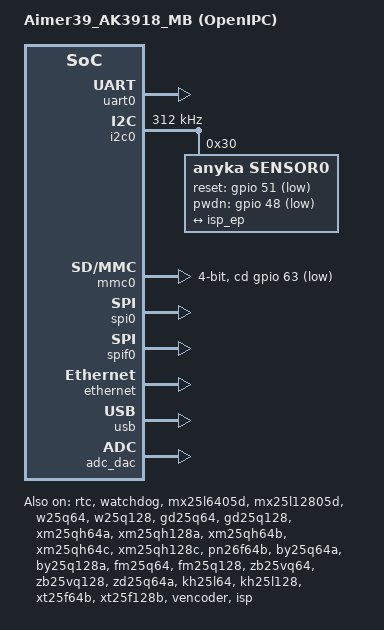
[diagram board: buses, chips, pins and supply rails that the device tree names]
/*
 * AK3918/AK3916 (Aimer39), the first AK39 generation, as OpenIPC boots it:
 * the peripherals of Anyka's Aimer39_AK3918_MB reference board
 * (arch/arm/mach-ak39/mach-aimer39_ak3918.c in the Aimer39 SDK) on the
 * AK39 common device tree. Pad functions are the Aimer39 SDK's own
 * (mach-ak39/ak39-gpio.c share_cfg_module[]). Board wiring that drives an
 * output -- motors, LEDs, the PHY reset line, Wi-Fi power, the speaker
 * amplifier -- is left out, since it differs from camera to camera; the
 * sensor's power-down and reset lines and the SD card detect input are the
 * reference board's.
 *
 * The AK3916 is the same die in a smaller package, with the same pads,
 * and boots this board too (the SDK's mach-aimer39_ak3916.c differs only
 * in board GPIOs).
 *
 * The bootargs are the defaults for OpenIPC's NOR layout, used whenever
 * U-Boot passes no command line of its own.
 */

/dts-v1/;
#include "anycloud_ak3918.dtsi"
#include "anycloud_ak39ev330_norflash.dtsi"

/ {
	compatible = "anyka,ak3918";
	model = "Aimer39_AK3918_MB (OpenIPC)";

	chosen {
		bootargs = "console=ttySAK0,115200n8 root=/dev/mtdblock3 rootfstype=squashfs init=/init mem=64M memsize=64M mtdparts=spi0.0:256k(boot),64k(env),2048k(kernel),5120k(rootfs),-(rootfs_data)";
	};
};

&gpio {
	/* ePIN_AS_UART1 (the console UART0): pads 1 and 2. */
	uart0_pins: uart0_pins {
		anyka,pins = <1 2>;
		anyka,function = <1>;
		anyka,pull = <0x00000010>;
	};

	/* ePIN_AS_I2C: pads 27 and 28. */
	i2c0_pins: i2c0_pins {
		anyka,pins = <27 28>;
		anyka,function = <1>;
		anyka,pull = <0x00000010>;
	};

	/* ePIN_AS_SPI1: clock and chip select on 25/26, data on 43-46. */
	spiflash_pins: spiflash_pins {
		anyka,pins = <25 26 43 44 45 46>;
		anyka,function = <1 1 2 2 2 2>;
		anyka,pull = <0x00000010>;
	};

	/* ePIN_AS_MCI, 4-bit: pads 31-36. */
	mci0_pins: mci0_pins {
		anyka,pins = <31 32 33 34 35 36>;
		anyka,function = <1>;
		anyka,pull = <0x00000010>;
	};

	/* ePIN_AS_MAC (MII): pads 12-24 and 47, pulls off as the SDK's MAC probe left them. */
	ethernet_pins: ethernet_pins {
		anyka,pins = <12 13 14 15 16 17 18 19 20 21 22 23 24 47>;
		anyka,function = <1>;
		anyka,pull = <0x00000000>;
	};

	/* ePIN_AS_CAMERA: the DVP bus's shared pads 8-11, function 0 here. */
	dvp_pins: dvp_pins {
		anyka,pins = <8 9 10 11>;
		anyka,function = <0>;
		anyka,pull = <0x00000010>;
	};
};

&rtc {
	status = "okay";
};

&watchdog {
	def_heartbeat = <10>;
	status = "okay";
};

&uart0 {
	pinctrl-names = "default";
	pinctrl-0 = <&uart0_pins>;
	status = "okay";
};

&i2c0 {
	pinctrl-names = "default";
	pinctrl-0 = <&i2c0_pins>;

	clock-frequency = <312000>;
	sda-delay = <100>;
	status = "okay";
	#address-cells = <1>;
	#size-cells = <0>;

	/*
	 * The SDK registers its aksensor client at a fake address and lets
	 * each sensor driver probe its own; the reference board powers the
	 * sensor from GPIO 48 and resets it on GPIO 51.
	 */
	sensor0: camera@30 {
		compatible = "anyka,sensor0";
		reg = <0x30>;
		reset-gpio = <&gpio 51 1>;
		pwdn-gpio = <&gpio 48 1>;
		status = "okay";

		port {
			sensor_ep: endpoint {
				remote-endpoint = <&isp_ep>;
			};
		};
	};
};

&mmc0 {
	pinctrl-names = "default";
	pinctrl-0 = <&mci0_pins>;
	bus-width = <4>;
	max-frequency = <25000000>;
	/* Card detect is GPIO 63 on the reference board, active low. */
	cd-gpios = <&gpio 63 1>;
	status = "okay";
};

&spi0 {
	pinctrl-names = "default";
	pinctrl-0 = <&spiflash_pins>;
	status = "okay";
};

&spif0 {
	spi-max-frequency = <20000000>;
	spi-tx-bus-width = <1>;
	spi-rx-bus-width = <1>;
	status = "okay";
};

&mx25l6405d {
	status = "okay";
};

&mx25l12805d {
	status = "okay";
};

&w25q64 {
	status = "okay";
};

&w25q128 {
	status = "okay";
};

&gd25q64 {
	status = "okay";
};

&gd25q128 {
	status = "okay";
};

&xm25qh64a {
	status = "okay";
};

&xm25qh128a {
	status = "okay";
};

&xm25qh64b {
	status = "okay";
};

&xm25qh64c {
	status = "okay";
};

&xm25qh128c {
	status = "okay";
};

&pn26f64b {
	status = "okay";
};

&by25q64a {
	status = "okay";
};

&by25q128a {
	status = "okay";
};

&fm25q64 {
	status = "okay";
};

&fm25q128 {
	status = "okay";
};

&zb25vq64 {
	status = "okay";
};

&zb25vq128 {
	status = "okay";
};

&zd25q64a {
	status = "okay";
};

&kh25l64 {
	status = "okay";
};

&kh25l128 {
	status = "okay";
};

&xt25f64b {
	status = "okay";
};

&xt25f128b {
	status = "okay";
};

/*
 * The common dtsi's MAC node is the EV300/EV330 Synopsys GMAC; AK3918 has
 * the older Anyka MAC at the same address, driven by ak-ethernet.
 */
&ethernet {
	compatible = "anyka,ak3918-ethernet";
	pinctrl-names = "default";
	pinctrl-0 = <&ethernet_pins>;
	clock-names = "ethernet";
	clocks = <&gclk_asic 12>;
	status = "okay";
};

&vencoder {
	status = "okay";
};

&venc {
	status = "disabled";
};

&usb {
	status = "okay";
};

&isp {
	pinctrl-names = "default";
	pinctrl-0 = <&dvp_pins>;

	clocks = <&gclk_asic 17>;
	clock-names = "camera";
	mclk-mhz = <24>;
	memory-region = <&video_pool>;
	status = "okay";

	port {
		isp_ep: endpoint {
			remote-endpoint = <&sensor_ep>;
		};
	};
};

/* The speaker amplifier enable (GPIO 3 on the reference board) is board wiring. */
&adc_dac {
	reg = <0x08000000 0xffff>, <0x20110000 0x8010>;
	status = "okay";
};
